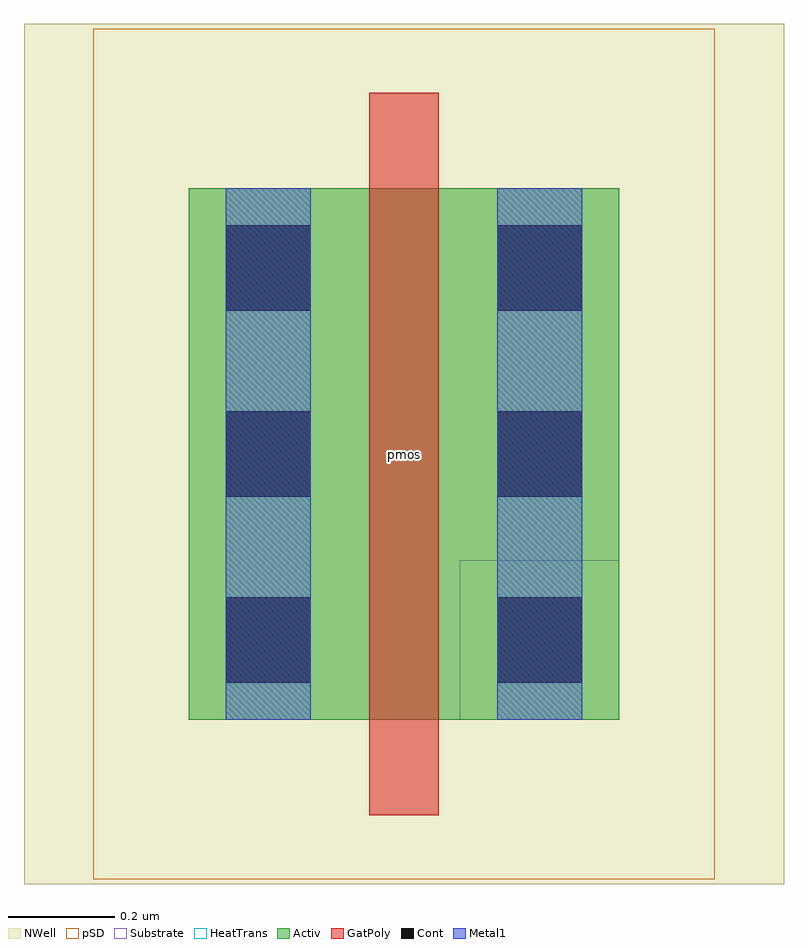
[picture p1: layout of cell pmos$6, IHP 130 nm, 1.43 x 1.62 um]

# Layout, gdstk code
import gdstk
lib = gdstk.Library(unit=1e-6, precision=1e-09)
def R(c, l, rs):  # rectangles x0, y0, x1, y1
    for r in rs: c.add(gdstk.rectangle(r[:2], r[2:], *l))
def A(c, l, x, y, w, h, nx, ny, dx, dy):  # array of equal rectangles
    R(c, l, [(x+i*dx, y+j*dy, x+i*dx+w, y+j*dy+h) for i in range(nx) for j in range(ny)])
Activ = (1, 0)
GatPoly = (5, 0)
Cont = (6, 0)
Metal1 = (8, 0)
pSD = (14, 0)
NWell = (31, 0)
Substrate = (40, 0)
HeatTrans = (51, 0)

pmos_6 = lib.new_cell('pmos$6')
R(pmos_6, Activ, [(0,0,0.3,0.3), (0,0,0.81,1), (0.51,0,0.81,0.3)])
R(pmos_6, GatPoly, [(0.34,-0.18,0.47,1.18), (0.34,-0.18,0.47,1.18)])
A(pmos_6, Cont, 0.07, 0.07, 0.16, 0.16, 1, 3, 0, 0.35)
A(pmos_6, Cont, 0.58, 0.07, 0.16, 0.16, 1, 3, 0, 0.35)
R(pmos_6, Metal1, [(0.07,0,0.23,1), (0.07,0,0.23,1), (0.58,0,0.74,1), (0.58,0,0.74,1)])
R(pmos_6, pSD, [(-0.18,-0.3,0.99,1.3)])
R(pmos_6, NWell, [(-0.31,-0.31,1.12,1.31)])
R(pmos_6, Substrate, [(0.51,0,0.81,0.3)])
R(pmos_6, HeatTrans, [(0.34,-0.18,0.47,1.18)])
pmos_6.add(gdstk.Label('pmos', (0.405,0.5), layer=63, texttype=0))
pmos_6.add(gdstk.Label('pmos', (0.405,0.5), layer=51, texttype=0))

lib.write_gds('pmos_6.gds')
